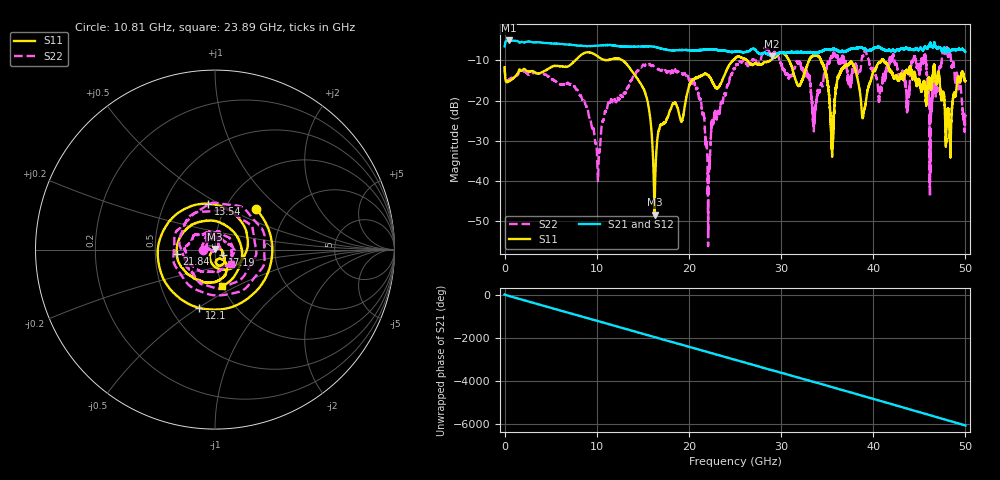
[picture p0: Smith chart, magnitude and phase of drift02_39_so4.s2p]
!Created with skrf (http://scikit-rf.org).
# Hz S RI R 50.0
!freq ReS11 ImS11 ReS21 ImS21 ReS12 ImS12 ReS22 ImS22
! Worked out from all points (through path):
!   10001 points, 300 kHz to 50 GHz, reference 50 ohm
!   highest |S21| = -5.04 dB at 430.3 MHz (marker M1); lowest = -8.9 dB at 29.05 GHz (marker M2)
!   group delay of S21, straight-line fit = 336 ps
!   lowest |S11| = -48.3 dB at 16.27 GHz (marker M3), VSWR 1.01, Z = 49.9 + j0.368 ohm
!   |S11| at or under -10 dB: start of sweep to 7.667 GHz; 12.82 GHz to 24.77 GHz (11.95 GHz wide, 63.6 % of centre); 41.13 GHz to end of sweep (the widest 3 of 10)
!   |S22| runs from -56.1 to -6.6 dB; largest |S21 - S12| = 0.03
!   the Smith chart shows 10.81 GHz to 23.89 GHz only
!   S11 on the Smith chart (normalised r, x): 10.81 GHz: 1.38, +0.70; 12.1 GHz: 0.69, -0.50; 13.54 GHz: 0.82, +0.45; 17.19 GHz: 1.09, -0.07; 21.84 GHz: 0.65, -0.03; 23.89 GHz: 0.99, -0.42
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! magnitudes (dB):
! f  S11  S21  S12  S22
! 300 kHz  -11.7  -6.5  -6.5  -11.7
! 430.3 MHz  -15.2  -5.0  -5.0  -14.9
! 8.335 GHz  -8.6  -6.4  -6.4  -19.1
! 10.11 GHz  -9.0  -6.3  -6.3  -38.3
! 10.81 GHz  -9.9  -6.2  -6.2  -23.6
! 12.1 GHz  -9.5  -6.4  -6.4  -20.4
! 13.54 GHz  -11.8  -6.6  -6.6  -16.0
! 16.27 GHz  -48.3  -6.6  -6.6  -11.7
! 16.67 GHz  -27.8  -6.8  -6.8  -12.2
! 17.19 GHz  -25.6  -7.2  -7.1  -12.6
! 21.84 GHz  -13.4  -7.3  -7.3  -31.1
! 23.89 GHz  -13.6  -7.6  -7.6  -18.4
! 25 GHz  -9.5  -7.8  -7.8  -11.9
! 29.05 GHz  -9.6  -8.9  -8.8  -8.1
! 33.34 GHz  -9.1  -8.0  -8.0  -19.8
! 35.54 GHz  -32.6  -7.3  -7.3  -9.1
! 36.8 GHz  -11.8  -7.7  -7.7  -10.0
! 41.67 GHz  -11.9  -7.4  -7.5  -11.8
! 45.5 GHz  -15.3  -6.9  -6.9  -9.7
! 46.25 GHz  -17.4  -6.1  -6.1  -22.6
! 48.12 GHz  -22.6  -7.2  -7.1  -9.1
! 50 GHz  -15.1  -7.9  -7.8  -23.8
